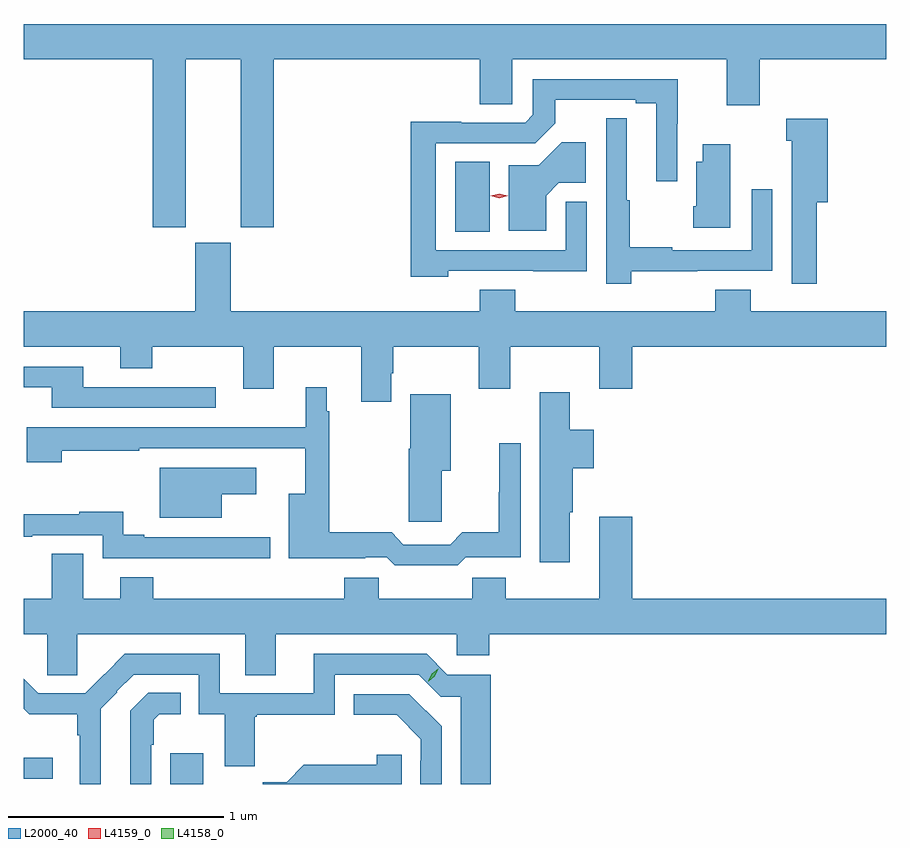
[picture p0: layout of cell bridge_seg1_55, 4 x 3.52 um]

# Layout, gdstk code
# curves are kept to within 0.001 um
import gdstk
lib = gdstk.Library(unit=1e-6, precision=1e-09)
def R(c, l, rs):  # rectangles x0, y0, x1, y1
    for r in rs: c.add(gdstk.rectangle(r[:2], r[2:], *l))
def P(c, l, *ps):  # polygons
    for p in ps: c.add(gdstk.Polygon(p, *l))
L2000_40 = (2000, 40)
L4158_0 = (4158, 0)
L4159_0 = (4159, 0)

bridge_seg1_55 = lib.new_cell('bridge_seg1_55')
R(bridge_seg1_55, L2000_40, [(472.583,527.061,472.735,527.203), (471.903,527.085,472.039,527.183), (473.903,529.621,474.064,529.946)])
P(bridge_seg1_55, L2000_40, [(472.654,530.42),(472.91,530.42),(472.91,529.641),(473.063,529.641),(473.063,530.42),(474.017,530.42),(474.017,530.212),(474.168,530.212),(474.168,530.42),(475.163,530.42),(475.163,530.208),(475.316,530.208),(475.316,530.42),(475.903,530.42),(475.903,530.584),(471.903,530.584),(471.903,530.42),(472.502,530.42),(472.502,529.641),(472.654,529.641)],
  [(473.871,529.44),(474.513,529.439),(474.513,529.761),(474.417,529.761),(474.417,529.536),(473.814,529.536),(473.814,530.031),(474.274,530.032),(474.367,530.125),(474.367,530.232),(474.74,530.232),(474.74,530.217),(474.836,530.217),(474.836,529.854),(474.933,529.854),(474.933,530.122),(474.936,530.122),(474.936,530.328),(474.264,530.328),(474.264,530.163),(474.228,530.127),(473.933,530.127),(473.933,530.132),(473.697,530.132),(473.698,529.412),(473.871,529.412)],
  [(474.721,529.439),(475.025,529.439),(475.025,529.44),(475.374,529.44),(475.374,529.819),(475.278,529.819),(475.278,529.536),(474.911,529.536),(474.911,529.549),(474.712,529.549),(474.712,529.766),(474.7,529.766),(474.7,530.039),(474.699,530.039),(474.699,530.147),(474.603,530.147),(474.603,529.38),(474.721,529.38)],
  [(475.58,529.757),(475.631,529.757),(475.631,530.144),(475.439,530.144),(475.439,530.043),(475.464,530.043),(475.464,529.38),(475.58,529.38)],
  [(474.325,529.789),(474.384,529.848),(474.508,529.848),(474.508,530.035),(474.397,530.035),(474.291,529.929),(474.152,529.929),(474.152,529.625),(474.325,529.625)],
  [(475.18,530.026),(475.052,530.026),(475.052,529.945),(475.022,529.945),(475.022,529.74),(475.007,529.74),(475.007,529.64),(475.18,529.64)],
  [(473.608,528.964),(473.616,528.964),(473.616,529.088),(474.013,529.088),(474.013,528.894),(474.16,528.894),(474.16,529.088),(474.572,529.088),(474.572,528.894),(474.725,528.894),(474.725,529.088),(475.903,529.088),(475.903,529.252),(475.274,529.252),(475.274,529.351),(475.109,529.351),(475.109,529.252),(474.182,529.252),(474.182,529.351),(474.017,529.351),(474.017,529.252),(472.864,529.252),(472.864,529.569),(472.7,529.569),(472.7,529.252),(471.903,529.252),(471.903,529.088),(472.352,529.088),(472.352,528.989),(472.5,528.989),(472.5,529.088),(472.922,529.088),(472.922,528.894),(473.062,528.894),(473.062,529.088),(473.468,529.088),(473.468,528.834),(473.608,528.834)],
  [(472.795,528.9),(472.18,528.9),(472.18,528.996),(471.903,528.996),(471.903,528.899),(472.033,528.899),(472.033,528.804),(472.795,528.804)],
  [(473.952,528.111),(474.207,528.111),(474.207,528.64),(474.109,528.64),(474.109,528.414),(474.106,528.414),(474.106,528.227),(473.936,528.227),(473.88,528.171),(473.664,528.171),(473.609,528.227),(473.32,528.227),(473.32,528.788),(473.308,528.788),(473.308,528.901),(473.21,528.901),(473.21,528.715),(471.918,528.714),(471.918,528.552),(472.079,528.552),(472.079,528.606),(472.439,528.606),(472.439,528.618),(473.209,528.618),(473.209,528.406),(473.132,528.406),(473.132,528.107),(473.486,528.107),(473.486,528.111),(473.586,528.111),(473.623,528.075),(473.916,528.075)],
  [(474.436,528.321),(474.449,528.321),(474.449,528.524),(474.547,528.524),(474.547,528.702),(474.436,528.702),(474.436,528.877),(474.296,528.877),(474.296,528.09),(474.436,528.09)],
  [(473.842,528.512),(473.884,528.512),(473.884,528.868),(473.696,528.868),(473.696,528.616),(473.689,528.616),(473.689,528.276),(473.842,528.276)],
  [(472.822,528.404),(472.981,528.404),(472.981,528.526),(472.535,528.526),(472.535,528.296),(472.822,528.296)],
  [(473.047,528.204),(472.462,528.204),(472.462,528.217),(472.366,528.217),(472.366,528.322),(472.162,528.322),(472.162,528.312),(471.903,528.312),(471.903,528.208),(471.944,528.208),(471.944,528.213),(472.269,528.213),(472.269,528.108),(472.588,528.108),(472.588,528.107),(473.047,528.107)],
  [(472.151,527.756),(472.931,527.756),(472.931,527.566),(473.071,527.566),(473.071,527.756),(473.91,527.756),(473.91,527.658),(474.062,527.658),(474.062,527.756),(475.903,527.756),(475.903,527.92),(474.725,527.92),(474.725,528.301),(474.572,528.301),(474.572,527.92),(474.138,527.92),(474.138,528.018),(473.983,528.018),(473.983,527.92),(473.55,527.92),(473.55,528.018),(473.39,528.018),(473.39,527.92),(472.505,527.92),(472.505,528.019),(472.352,528.019),(472.352,527.92),(472.18,527.92),(472.18,528.128),(472.033,528.128),(472.033,527.92),(471.903,527.92),(471.903,527.756),(472.014,527.756),(472.014,527.566),(472.151,527.566)],
  [(472.261,527.41),(472.338,527.487),(472.335,527.49),(472.413,527.568),(472.716,527.568),(472.716,527.384),(472.835,527.384),(472.835,527.143),(472.975,527.143),(472.975,527.373),(472.983,527.373),(472.983,527.383),(473.346,527.383),(473.346,527.568),(473.736,527.568),(473.838,527.466),(473.93,527.466),(473.93,527.061),(474.068,527.061),(474.068,527.568),(473.868,527.568),(473.772,527.664),(473.249,527.664),(473.249,527.481),(472.812,527.481),(472.812,527.664),(472.373,527.664),(472.188,527.481),(471.972,527.481),(471.903,527.55),(471.903,527.41),(471.929,527.384),(472.152,527.384),(472.152,527.288),(472.164,527.288),(472.164,527.061),(472.261,527.061)],
  [(472.494,527.243),(472.506,527.243),(472.506,527.358),(472.532,527.384),(472.631,527.384),(472.631,527.483),(472.481,527.483),(472.398,527.4),(472.398,527.185),(472.397,527.185),(472.397,527.061),(472.494,527.061)],
  [(473.842,527.328),(473.692,527.478),(473.433,527.478),(473.433,527.381),(473.633,527.381),(473.745,527.268),(473.745,527.168),(473.741,527.168),(473.741,527.061),(473.842,527.061)],
  [(473.656,527.197),(473.54,527.197),(473.54,527.15),(473.202,527.15),(473.122,527.07),(473.012,527.07),(473.012,527.061),(473.656,527.061)])
P(bridge_seg1_55, L4158_0, [(473.78,527.538),(473.78,527.538),(473.795,527.572),(473.825,527.595),(473.825,527.595),(473.825,527.594),(473.81,527.56),(473.781,527.538)])
P(bridge_seg1_55, L4159_0, [(474.108,529.777),(474.068,529.787),(474.068,529.787),(474.068,529.787),(474.108,529.797),(474.148,529.788),(474.148,529.788),(474.148,529.788)])

lib.write_gds('bridge_seg1_55.gds')
